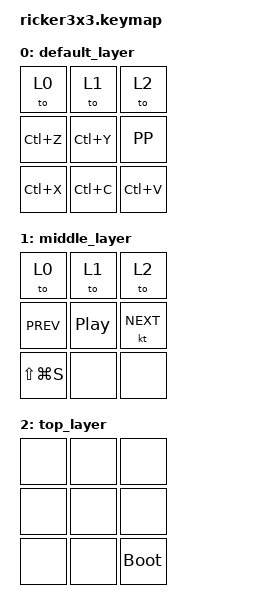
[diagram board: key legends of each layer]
#include <behaviors.dtsi>
#include <dt-bindings/zmk/keys.h>
#include <dt-bindings/zmk/keys.h>

/ {
};

/ {
    keymap {
        compatible = "zmk,keymap";

        default_layer {
            bindings = <
&to 0      &to 1      &to 2
&kp LC(Z)  &kp LC(Y)  &kp K_PP
&kp LC(X)  &kp LC(C)  &kp LC(V)
            >;
        };

        middle_layer {
            bindings = <
&to 0          &to 1             &to 2
&kp C_PREV     &kp C_PLAY_PAUSE  &kt C_NEXT
&kp LS(LG(S))  &none             &none
            >;
        };

        top_layer {
            bindings = <
&none  &none  &none
&none  &none  &none
&none  &none  &bootloader
            >;
        };
    };
};
